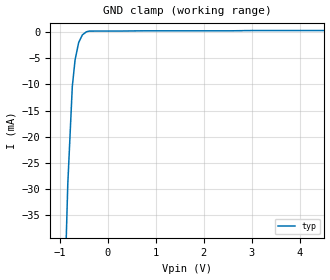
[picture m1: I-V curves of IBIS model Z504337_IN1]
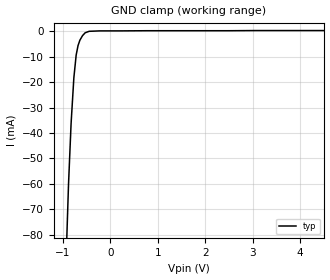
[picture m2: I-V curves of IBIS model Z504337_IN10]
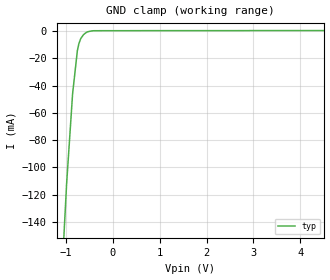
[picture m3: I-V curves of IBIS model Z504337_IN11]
| YOU ARE ONLY AUTHORIZED TO USE THIS SOFTWARE
| ACCORDING TO LICENSOR'S LICENSE RESTRICTIONS.
[IBIS Ver] 3.1
[File Name] mc74lcx16244dt.ibs
[File Rev] 2.0
[Source] Measured and created by ICX Technology
[Date] Friday 7/14/00 9:08:12 AM
[Copyright]
| (C) COPYRIGHT 1993-2000
| MENTOR GRAPHICS CORPORATION
| ICX STANDARD LIBRARY, ICX PROJECT MODELING,
| ICX CUSTOM MODELING, ICX VENDOR MODEL
| ALL RIGHTS RESERVED.
| THE FOLLOWING ARE TRADEMARKS OR SERVICE MARKS OF
| MENTOR GRAPHICS CORPORATION:ICX (R), ICX STANDARD
| LIBRARY(R), ICX PROJECT MODELING(R), ICX CUSTOM
| MODELING(R), qualityIBIS(TM), MODELVIEWER(TM),
| AND MODELEDITOR(TM)
| ALL COPIES OF SOFTWARE, INCLUDING BUT NOT LIMITED TO
| ANY MODIFICATIONS, ENHANCEMENTS OR DERIVATIVE WORKS,
| MUST CONTAIN ALL MENTOR GRAPHICS CORPORATION'S
| NOTICES AND LEGENDS, INCLUDING THOSE EMBEDDED IN
| SOFTWARE AND THOSE AFFIXED TO SOFTWARE MEDIUM
| AND CONTAINER, AS RECEIVED FROM MENTOR GRAPHICS
| CORPORATION.
|  ZAP Model Builder 2.7
[Component] MC74LCX16244DT
[Manufacturer] OnSemiconductor
[Package]
| variable   typ   min   max
R_pkg  .153ohms NA NA
L_pkg  2.946nH NA NA
C_pkg  .275pF NA NA
[Pin] signal_name  model_name  R_pin  L_pin C_pin
1 _G Z504337_IN1 .171 5.2n .49p
2 Y0 Z504337_TRI2 .168 4.65n .44p
3 Y1 Z504337_TRI2 .164 4.14n .39p
4 GROUND GND .161 3.64n .33p
5 Y2 Z504337_TRI2 .158 3.17n .28p
6 Y3 Z504337_TRI2 .155 2.63n .23p
7 VCC POWER .152 2.39n .22p
8 Y0 Z504337_TRI3 .148 2.16n .21p
9 Y1 Z504337_TRI3 .145 2.0n .2p
10 GROUND GND .142 1.87n .18p
11 Y2 Z504337_TRI3 .139 1.75n .17p
12 Y3 Z504337_TRI3 .136 1.75n .16p
13 Y0 Z504337_TRI4 .136 1.75n .16p
14 Y1 Z504337_TRI4 .139 1.75n .17p
15 GROUND GND .142 1.87n .18p
16 Y2 Z504337_TRI4 .145 2.0n .2p
17 Y3 Z504337_TRI4 .148 2.16n .21p
18 VCC POWER .152 2.39n .22p
19 Y0 Z504337_TRI5 .155 2.63n .23p
20 Y1 Z504337_TRI5 .158 3.17n .28p
21 GROUND GND .161 3.64n .33p
22 Y2 Z504337_TRI5 .164 4.14n .39p
23 Y3 Z504337_TRI5 .168 4.65n .44p
24 _G Z504337_IN6 .171 5.2n .49p
25 _G Z504337_IN7 .171 5.2n .49p
26 A3 Z504337_IN8 .168 4.65n .44p
27 A2 Z504337_IN8 .164 4.14n .39p
28 GROUND GND .161 3.64n .33p
29 A1 Z504337_IN8 .158 3.17n .28p
30 A0 Z504337_IN8 .155 2.63n .23p
31 VCC POWER .152 2.39n .22p
32 A3 Z504337_IN9 .148 2.16n .21p
33 A2 Z504337_IN9 .145 2.0n .2p
34 GROUND GND .142 1.87n .18p
35 A1 Z504337_IN9 .139 1.75n .17p
36 A0 Z504337_IN9 .136 1.75n .16p
37 A3 Z504337_IN10 .136 1.75n .16p
38 A2 Z504337_IN10 .139 1.75n .17p
39 GROUND GND .142 1.87n .18p
40 A1 Z504337_IN10 .145 2.0n .2p
41 A0 Z504337_IN10 .148 2.16n .21p
42 VCC POWER .152 2.39n .22p
43 A3 Z504337_IN11 .155 2.63n .23p
44 A2 Z504337_IN11 .158 3.17n .28p
45 GROUND GND .161 3.64n .33p
46 A1 Z504337_IN11 .164 4.14n .39p
47 A0 Z504337_IN11 .168 4.65n .44p
48 _G Z504337_IN12 .171 5.2n .49p
| Models and submodels in the file (12): Z504337_IN1 (Input), Z504337_IN10 (Input), Z504337_IN11 (Input), Z504337_IN12 (Input), Z504337_IN6 (Input), Z504337_IN7 (Input), Z504337_IN8 (Input), Z504337_IN9 (Input), Z504337_TRI2 (3-state), Z504337_TRI3 (3-state), Z504337_TRI4 (3-state), Z504337_TRI5 (3-state)
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| (C) COPYRIGHT 1993-2000
| MENTOR GRAPHICS CORPORATION
| ICX STANDARD LIBRARY, ICX PROJECT MODELING,
| ICX CUSTOM MODELING, ICX VENDOR MODEL
| ALL RIGHTS RESERVED.
| THE FOLLOWING ARE TRADEMARKS OR SERVICE MARKS OF
| MENTOR GRAPHICS CORPORATION:ICX (R), ICX STANDARD
| LIBRARY(R), ICX PROJECT MODELING(R), ICX CUSTOM
| MODELING(R), qualityIBIS(TM), MODELVIEWER(TM),
| AND MODELEDITOR(TM)
| ALL COPIES OF SOFTWARE, INCLUDING BUT NOT LIMITED TO
| ANY MODIFICATIONS, ENHANCEMENTS OR DERIVATIVE WORKS,
| MUST CONTAIN ALL MENTOR GRAPHICS CORPORATION'S
| NOTICES AND LEGENDS, INCLUDING THOSE EMBEDDED IN
| SOFTWARE AND THOSE AFFIXED TO SOFTWARE MEDIUM
| AND CONTAINER, AS RECEIVED FROM MENTOR GRAPHICS
| CORPORATION.
| Model Application Version 1.89 2/18/99.
[Model] Z504337_IN1
Model_type Input
Vinl = 800.0mV
Vinh = 2.000V
C_comp 4.000pF NA NA
| variable typ   min   max
[Voltage Range] 3.300V NA NA
[GND Clamp Reference] 0.000V NA NA
[POWER Clamp Reference] 3.300V NA NA
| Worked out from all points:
|   GND clamp passes 1 mA (typ) near -0.55 V on its own axis
[GND Clamp]
-3.3V     -1.878A    NA         NA
-1.045V   -96.8mA    NA         NA
-835.5mV  -29.18mA   NA         NA
-741mV    -10.43mA   NA         NA
-683.3mV  -5.329mA   NA         NA
-607.8mV  -2.002mA   NA         NA
-532mV    -567.2uA   NA         NA
-449.2mV  31.43uA    NA         NA
-390.6mV  170.4uA    NA         NA
768.6mV   228.8uA    NA         NA
6.6V      281.7uA    NA         NA
[POWER Clamp]
-3.3V     0A         NA         NA
6.6V      0A         NA         NA
| (C) COPYRIGHT 1993-2000
| MENTOR GRAPHICS CORPORATION
| ICX STANDARD LIBRARY, ICX PROJECT MODELING,
| ICX CUSTOM MODELING, ICX VENDOR MODEL
| ALL RIGHTS RESERVED.
| THE FOLLOWING ARE TRADEMARKS OR SERVICE MARKS OF
| MENTOR GRAPHICS CORPORATION:ICX (R), ICX STANDARD
| LIBRARY(R), ICX PROJECT MODELING(R), ICX CUSTOM
| MODELING(R), qualityIBIS(TM), MODELVIEWER(TM),
| AND MODELEDITOR(TM)
| ALL COPIES OF SOFTWARE, INCLUDING BUT NOT LIMITED TO
| ANY MODIFICATIONS, ENHANCEMENTS OR DERIVATIVE WORKS,
| MUST CONTAIN ALL MENTOR GRAPHICS CORPORATION'S
| NOTICES AND LEGENDS, INCLUDING THOSE EMBEDDED IN
| SOFTWARE AND THOSE AFFIXED TO SOFTWARE MEDIUM
| AND CONTAINER, AS RECEIVED FROM MENTOR GRAPHICS
| CORPORATION.
| Model Application Version 1.89 2/18/99.
[Model] Z504337_IN10
Model_type Input
Vinl = 800.0mV
Vinh = 2.000V
C_comp 4.000pF NA NA
| variable typ   min   max
[Voltage Range] 3.300V NA NA
[GND Clamp Reference] 0.000V NA NA
[POWER Clamp Reference] 3.300V NA NA
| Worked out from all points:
|   GND clamp passes 1 mA (typ) near -0.55 V on its own axis
[GND Clamp]
-3.3V     -1.749A    NA         NA
-1.006V   -131.3mA   NA         NA
-883.9mV  -60.29mA   NA         NA
-829.7mV  -36.35mA   NA         NA
-771.3mV  -18.34mA   NA         NA
-722.6mV  -9.372mA   NA         NA
-683mV    -5.619mA   NA         NA
-644.5mV  -3.532mA   NA         NA
-532mV    -582.8uA   NA         NA
-449.2mV  -13.01uA   NA         NA
-224.6mV  155.3uA    NA         NA
6.6V      286.2uA    NA         NA
[POWER Clamp]
-3.3V     0A         NA         NA
6.6V      0A         NA         NA
| (C) COPYRIGHT 1993-2000
| MENTOR GRAPHICS CORPORATION
| ICX STANDARD LIBRARY, ICX PROJECT MODELING,
| ICX CUSTOM MODELING, ICX VENDOR MODEL
| ALL RIGHTS RESERVED.
| THE FOLLOWING ARE TRADEMARKS OR SERVICE MARKS OF
| MENTOR GRAPHICS CORPORATION:ICX (R), ICX STANDARD
| LIBRARY(R), ICX PROJECT MODELING(R), ICX CUSTOM
| MODELING(R), qualityIBIS(TM), MODELVIEWER(TM),
| AND MODELEDITOR(TM)
| ALL COPIES OF SOFTWARE, INCLUDING BUT NOT LIMITED TO
| ANY MODIFICATIONS, ENHANCEMENTS OR DERIVATIVE WORKS,
| MUST CONTAIN ALL MENTOR GRAPHICS CORPORATION'S
| NOTICES AND LEGENDS, INCLUDING THOSE EMBEDDED IN
| SOFTWARE AND THOSE AFFIXED TO SOFTWARE MEDIUM
| AND CONTAINER, AS RECEIVED FROM MENTOR GRAPHICS
| CORPORATION.
| Model Application Version 1.89 2/18/99.
[Model] Z504337_IN11
Model_type Input
Vinl = 800.0mV
Vinh = 2.000V
C_comp 4.000pF NA NA
| variable typ   min   max
[Voltage Range] 3.300V NA NA
[GND Clamp Reference] 0.000V NA NA
[POWER Clamp Reference] 3.300V NA NA
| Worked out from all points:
|   GND clamp passes 1 mA (typ) near -0.56 V on its own axis
[GND Clamp]
-3.3V     -1.647A    NA         NA
-985.6mV  -112.5mA   NA         NA
-858mV    -46.41mA   NA         NA
-755.8mV  -14.48mA   NA         NA
-722.6mV  -9.198mA   NA         NA
-683.1mV  -5.613mA   NA         NA
-625mV    -2.727mA   NA         NA
-532mV    -575.9uA   NA         NA
-410.2mV  152.6uA    NA         NA
-205.1mV  183.1uA    NA         NA
6.6V      281.7uA    NA         NA
[POWER Clamp]
-3.3V     0A         NA         NA
6.6V      0A         NA         NA
